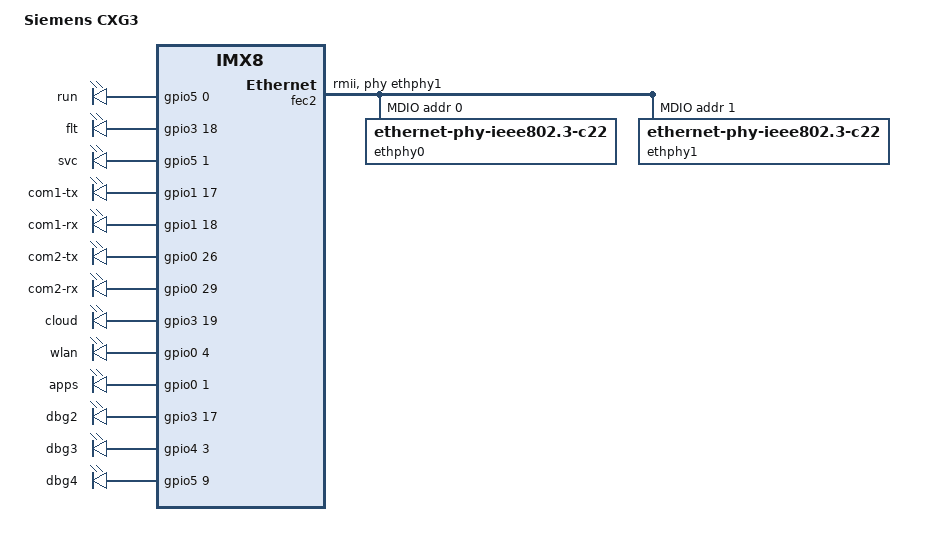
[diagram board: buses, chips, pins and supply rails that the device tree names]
// SPDX-License-Identifier: GPL-2.0+
/*
 * Copyright 2019 Siemens AG
 */

#include "imx8-capricorn.dtsi"

/ {
	model = "Siemens CXG3";

	leds_default: leds {
		compatible = "gpio-leds";
		pinctrl-names = "default";
		pinctrl-0 = <&pinctrl_gpio_leds>;

		run {
			label = "run";
			gpios = <&gpio5 0 GPIO_ACTIVE_HIGH>;
			default-state = "on";
		};

		flt {
			label = "flt";
			gpios = <&gpio3 18 GPIO_ACTIVE_HIGH>;
			default-state = "on";
		};

		svc {
			label = "svc";
			gpios = <&gpio5 1 GPIO_ACTIVE_HIGH>;
			default-state = "on";
		};

		com1_tx {
			label = "com1-tx";
			gpios = <&gpio1 17 GPIO_ACTIVE_HIGH>;
			default-state = "on";
		};

		com1_rx {
			label = "com1-rx";
			gpios = <&gpio1 18 GPIO_ACTIVE_HIGH>;
			default-state = "on";
		};

		com2_tx {
			label = "com2-tx";
			gpios = <&gpio0 26 GPIO_ACTIVE_HIGH>;
			default-state = "on";
		};

		com2_rx {
			label = "com2-rx";
			gpios = <&gpio0 29 GPIO_ACTIVE_HIGH>;
			default-state = "on";
		};

		cloud {
			label = "cloud";
			gpios = <&gpio3 19 GPIO_ACTIVE_HIGH>;
			default-state = "on";
		};

		wlan {
			label = "wlan";
			gpios = <&gpio0 4 GPIO_ACTIVE_HIGH>;
			default-state = "on";
		};

		apps {
			label = "apps";
			gpios = <&gpio0 1 GPIO_ACTIVE_HIGH>;
			default-state = "on";
		};

		dbg2 {
			label = "dbg2";
			gpios = <&gpio3 17 GPIO_ACTIVE_HIGH>;
			default-state = "on";
		};

		dbg3 {
			label = "dbg3";
			gpios = <&gpio4 3 GPIO_ACTIVE_HIGH>;
			default-state = "on";
		};

		dbg4 {
			label = "dbg4";
			gpios = <&gpio5 9 GPIO_ACTIVE_HIGH>;
			default-state = "on";
		};
	};

	gpio-keys {
		compatible = "gpio-keys";
		gpios = <&gpio1 31 GPIO_ACTIVE_HIGH>;
	};
};

&iomuxc {
	pinctrl-0 = <&pinctrl_gpio_keys>;

	muxcgrp: imx8qxp-som {
		pinctrl_fec2: fec2grp {
			fsl,pins = <
				SC_P_COMP_CTL_GPIO_1V8_3V3_ENET_ENETB0_PAD	0x000014a0
				SC_P_COMP_CTL_GPIO_1V8_3V3_ENET_ENETB1_PAD	0x000014a0
				SC_P_COMP_CTL_GPIO_1V8_3V3_GPIORHB_PAD		0x000514a0

				SC_P_ENET0_MDC_CONN_ENET1_MDC			0x00000060
				SC_P_ENET0_MDIO_CONN_ENET1_MDIO			0x00000060

				SC_P_ESAI0_FSR_CONN_ENET1_RCLK50M_IN		0x00000060
				SC_P_SPDIF0_RX_CONN_ENET1_RGMII_RXD0		0x00000060
				SC_P_ESAI0_TX3_RX2_CONN_ENET1_RGMII_RXD1	0x00000060
				SC_P_ESAI0_TX2_RX3_CONN_ENET1_RMII_RX_ER	0x00000060
				SC_P_SPDIF0_TX_CONN_ENET1_RGMII_RX_CTL		0x00000060
				SC_P_ESAI0_TX4_RX1_CONN_ENET1_RGMII_TXD0	0x00000060
				SC_P_ESAI0_TX5_RX0_CONN_ENET1_RGMII_TXD1	0x00000060
				SC_P_ESAI0_SCKR_CONN_ENET1_RGMII_TX_CTL		0x00000060
			>;
		};

		pinctrl_gpio_leds: gpioledsgrp {
			fsl,pins = <
			SC_P_ESAI0_FST_LSIO_GPIO0_IO01		0x06000021
			SC_P_ESAI0_TX0_LSIO_GPIO0_IO04		0x06000021
			SC_P_SAI0_TXC_LSIO_GPIO0_IO26		0x06000021
			SC_P_SAI1_RXD_LSIO_GPIO0_IO29		0x06000021
			SC_P_FLEXCAN1_RX_LSIO_GPIO1_IO17	0x06000021
			SC_P_FLEXCAN1_TX_LSIO_GPIO1_IO18	0x06000021
			SC_P_QSPI0B_SCLK_LSIO_GPIO3_IO17	0x06000021
			SC_P_QSPI0B_DATA0_LSIO_GPIO3_IO18	0x06000021
			SC_P_QSPI0B_DATA1_LSIO_GPIO3_IO19	0x06000021
			SC_P_USB_SS3_TC0_LSIO_GPIO4_IO03	0x06000021
			SC_P_ENET0_RGMII_TXD1_LSIO_GPIO5_IO00	0x06000021
			SC_P_ENET0_RGMII_TXD2_LSIO_GPIO5_IO01	0x06000021
			SC_P_ENET0_REFCLK_125M_25M_LSIO_GPIO5_IO09	0x06000021
			>;
		};
	};

	pinctrl_gpio_keys: gpiokeysgrp {
		fsl,pins = <
		SC_P_MIPI_DSI1_GPIO0_00_LSIO_GPIO1_IO31 0x06000021
		>;
	};
};

&fec2 {
	pinctrl-names = "default";
	pinctrl-0 = <&pinctrl_fec2>;
	phy-mode = "rmii";

	phy-handle = <&ethphy1>;
	fsl,magic-packet;
	status = "okay";

	mdio {
		#address-cells = <1>;
		#size-cells = <0>;

		ethphy0: ethernet-phy@0 {
			compatible = "ethernet-phy-ieee802.3-c22";
			reg = <0>;
		};
		ethphy1: ethernet-phy@1 {
			compatible = "ethernet-phy-ieee802.3-c22";
			reg = <1>;
		};
	};
};
